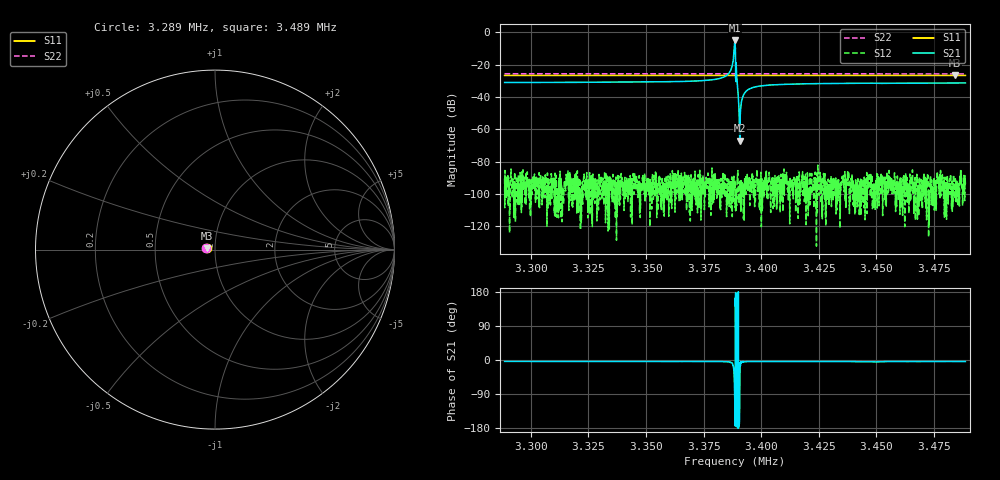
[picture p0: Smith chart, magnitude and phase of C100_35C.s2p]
# Hz S dB R 50.000
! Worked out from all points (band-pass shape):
!   6401 points, 3.289 MHz to 3.489 MHz, reference 50 ohm
!   highest |S21| = -5.08 dB at 3.389 MHz (marker M1); lowest = -67.0 dB at 3.391 MHz (marker M2)
!   |S21| within 3 dB of the highest: 3.388382 MHz to 3.388649 MHz (267.1 Hz wide, 0.00788 % of centre)
!   lowest |S11| = -26.7 dB at 3.484 MHz (marker M3), VSWR 1.10, Z = 45.6 + j0.57 ohm
!   |S11| at or under -10 dB: start of sweep to end of sweep
!   |S22| runs from -25.8 to -25.7 dB; largest |S21 - S12| = 0.56
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3288594  -26.71 170.6  -31.07 -3.7  -90.41 155.9  -25.66 168.9
3321938  -26.72 170.8  -30.96 -3.8  -115.36 15.0  -25.68 169.1
3355282  -26.72 171.0  -30.68 -3.9  -94.05 -169.8  -25.70 169.5
3382063  -26.73 171.3  -28.52 -4.3  -103.59 164.0  -25.71 169.7
3386094  -26.72 171.3  -25.09 -5.2  -103.22 -70.5  -25.71 169.8
3386969  -26.72 171.3  -22.76 -6.9  -95.90 41.3  -25.71 169.8
3387438  -26.72 171.3  -20.18 -8.5  -99.37 -99.7  -25.71 169.8
3387844  -26.72 171.3  -17.29 -15.9  -104.76 -86.3  -25.72 169.8
3388594  -26.72 171.3  -5.08 -135.8  -91.45 103.4  -25.69 169.7
3389250  -26.73 171.3  -24.86 -163.1  -107.18 17.7  -25.72 169.7
3389875  -26.72 171.3  -36.76 -178.2  -87.77 33.1  -25.71 169.7
3390313  -26.72 171.3  -47.38 -171.6  -105.13 -3.9  -25.71 169.7
3390656  -26.72 171.3  -67.05 -62.9  -96.26 71.0  -25.72 169.8
3391313  -26.72 171.3  -43.76 -7.4  -96.70 -0.6  -25.71 169.8
3392000  -26.73 171.4  -39.86 -4.5  -98.08 37.1  -25.71 169.8
3392906  -26.72 171.4  -37.31 -4.6  -91.72 101.2  -25.72 169.8
3396156  -26.72 171.4  -34.25 -4.3  -90.94 50.0  -25.72 169.8
3404656  -26.72 171.5  -32.55 -4.0  -89.62 29.9  -25.72 169.9
3421938  -26.72 171.6  -31.84 -4.0  -91.65 22.5  -25.73 170.1
3455282  -26.73 172.0  -31.56 -4.2  -88.44 -26.8  -25.74 170.4
3484063  -26.74 172.2  -31.33 -4.2  -95.58 -66.5  -25.76 170.6
3488594  -26.73 172.2  -31.34 -4.2  -93.95 63.7  -25.77 170.7
